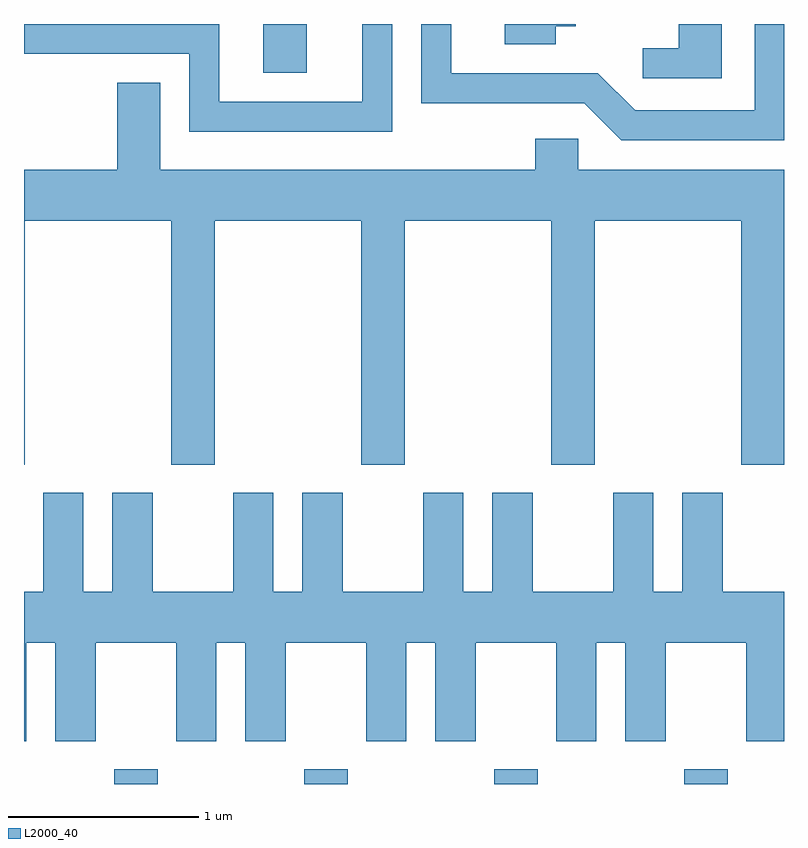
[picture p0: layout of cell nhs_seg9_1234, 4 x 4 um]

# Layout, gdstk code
import gdstk
lib = gdstk.Library(unit=1e-6, precision=1e-09)
def R(c, l, rs):  # rectangles x0, y0, x1, y1
    for r in rs: c.add(gdstk.rectangle(r[:2], r[2:], *l))
def A(c, l, x, y, w, h, nx, ny, dx, dy):  # array of equal rectangles
    R(c, l, [(x+i*dx, y+j*dy, x+i*dx+w, y+j*dy+h) for i in range(nx) for j in range(ny)])
def P(c, l, *ps):  # polygons
    for p in ps: c.add(gdstk.Polygon(p, *l))
L2000_40 = (2000, 40)

nhs_seg9_1234 = lib.new_cell('nhs_seg9_1234')
A(nhs_seg9_1234, L2000_40, 222.086, 1964.432, 0.228, 0.077, 4, 1, 1, 0)
R(nhs_seg9_1234, L2000_40, [(222.871,1968.176,223.099,1968.432)])
P(nhs_seg9_1234, L2000_40, [(225.611,1968.432),(225.456,1968.432),(225.456,1967.979),(224.827,1967.979),(224.632,1968.174),(223.859,1968.174),(223.859,1968.432),(223.701,1968.432),(223.701,1968.016),(224.559,1968.016),(224.754,1967.821),(225.611,1967.821)],
  [(225.284,1968.432),(225.056,1968.432),(225.056,1968.304),(224.868,1968.304),(224.868,1968.146),(225.284,1968.146)],
  [(223.549,1968.432),(223.391,1968.432),(223.391,1968.024),(222.639,1968.024),(222.639,1968.432),(221.611,1968.432),(221.611,1968.276),(222.481,1968.276),(222.481,1967.866),(223.549,1967.866)],
  [(224.409,1968.421),(224.514,1968.421),(224.514,1968.432),(224.141,1968.432),(224.141,1968.326),(224.409,1968.326)],
  [(221.614,1967.396),(222.386,1967.396),(222.386,1966.111),(222.614,1966.111),(222.614,1967.396),(223.386,1967.396),(223.386,1966.111),(223.614,1966.111),(223.614,1967.396),(224.386,1967.396),(224.386,1966.111),(224.614,1966.111),(224.614,1967.396),(225.386,1967.396),(225.386,1966.111),(225.611,1966.111),(225.611,1967.664),(224.529,1967.664),(224.529,1967.829),(224.301,1967.829),(224.301,1967.664),(222.329,1967.664),(222.329,1968.124),(222.101,1968.124),(222.101,1967.664),(221.611,1967.664),(221.611,1966.111),(221.614,1966.111)],
  [(221.624,1965.176),(221.776,1965.176),(221.776,1964.656),(221.989,1964.656),(221.989,1965.176),(222.411,1965.176),(222.411,1964.656),(222.624,1964.656),(222.624,1965.176),(222.776,1965.176),(222.776,1964.656),(222.989,1964.656),(222.989,1965.176),(223.411,1965.176),(223.411,1964.656),(223.624,1964.656),(223.624,1965.176),(223.776,1965.176),(223.776,1964.656),(223.989,1964.656),(223.989,1965.176),(224.411,1965.176),(224.411,1964.656),(224.624,1964.656),(224.624,1965.176),(224.776,1965.176),(224.776,1964.656),(224.989,1964.656),(224.989,1965.176),(225.411,1965.176),(225.411,1964.656),(225.611,1964.656),(225.611,1965.444),(225.289,1965.444),(225.289,1965.964),(225.076,1965.964),(225.076,1965.444),(224.924,1965.444),(224.924,1965.964),(224.711,1965.964),(224.711,1965.444),(224.289,1965.444),(224.289,1965.964),(224.076,1965.964),(224.076,1965.444),(223.924,1965.444),(223.924,1965.964),(223.711,1965.964),(223.711,1965.444),(223.289,1965.444),(223.289,1965.964),(223.076,1965.964),(223.076,1965.444),(222.924,1965.444),(222.924,1965.964),(222.711,1965.964),(222.711,1965.444),(222.289,1965.444),(222.289,1965.964),(222.076,1965.964),(222.076,1965.444),(221.924,1965.444),(221.924,1965.964),(221.711,1965.964),(221.711,1965.444),(221.611,1965.444),(221.611,1964.656),(221.624,1964.656)])

lib.write_gds('nhs_seg9_1234.gds')
